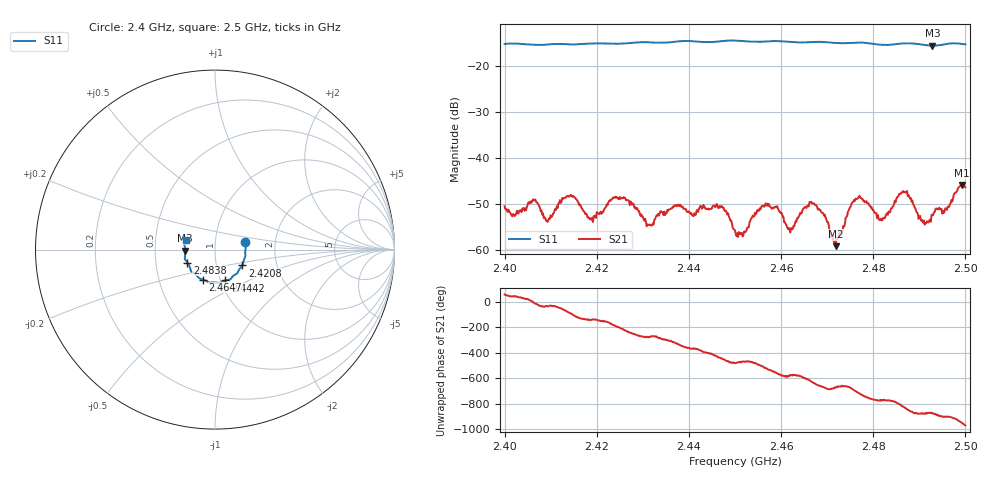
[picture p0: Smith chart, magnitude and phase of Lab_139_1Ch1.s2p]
# Hz S RI R 50
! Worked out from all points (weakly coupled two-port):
!   601 points, 2.4 GHz to 2.5 GHz, reference 50 ohm
!   highest |S21| = -45.94 dB at 2.4992 GHz (marker M1); lowest = -59.3 dB at 2.4718 GHz (marker M2)
!   lowest |S11| = -15.6 dB at 2.4928 GHz (marker M3), VSWR 1.40, Z = 35.8 - j0.396 ohm
!   |S11| at or under -10 dB: start of sweep to end of sweep
!   S12 and S22 are empty: the file has one direction only
!   S11 on the Smith chart (normalised r, x): 2.4 GHz: 1.40, +0.12; 2.4208 GHz: 1.33, -0.24; 2.4442 GHz: 1.05, -0.37; 2.4647 GHz: 0.83, -0.29; 2.4838 GHz: 0.73, -0.11; 2.5 GHz: 0.72, +0.08
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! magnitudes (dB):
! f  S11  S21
! 2.4 GHz  -15.3  -50.6
! 2.4167 GHz  -15.3  -51.0
! 2.4208 GHz  -15.1  -51.8
! 2.424 GHz  -15.2  -48.5
! 2.4313 GHz  -14.9  -54.7
! 2.4333 GHz  -15.0  -52.2
! 2.4442 GHz  -14.9  -51.1
! 2.4475 GHz  -14.6  -50.9
! 2.45 GHz  -14.5  -55.8
! 2.4565 GHz  -14.7  -50.4
! 2.462 GHz  -14.8  -56.3
! 2.4647 GHz  -14.9  -51.3
! 2.4667 GHz  -14.8  -49.9
! 2.4718 GHz  -15.0  -59.3
! 2.4767 GHz  -15.0  -48.8
! 2.4833 GHz  -15.4  -51.7
! 2.4838 GHz  -15.4  -51.1
! 2.4868 GHz  -15.1  -47.5
! 2.4908 GHz  -15.4  -54.2
! 2.4928 GHz  -15.6  -52.5
! 2.4992 GHz  -15.2  -45.9
! 2.5 GHz  -15.3  -46.4
